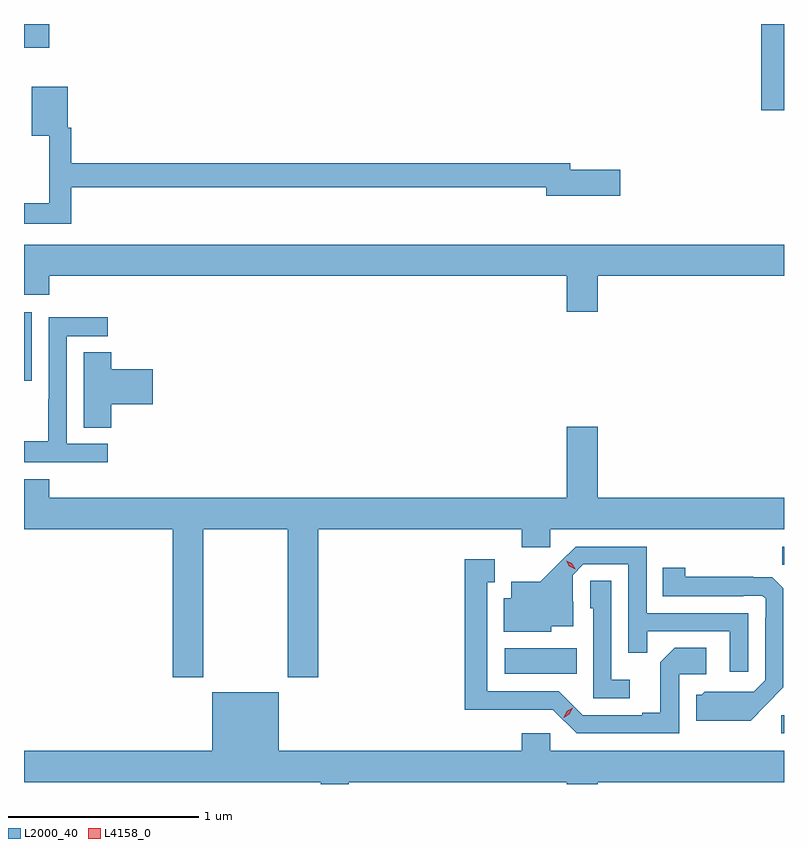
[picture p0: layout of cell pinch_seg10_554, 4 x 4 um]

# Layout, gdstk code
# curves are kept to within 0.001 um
import gdstk
lib = gdstk.Library(unit=1e-6, precision=1e-09)
def R(c, l, rs):  # rectangles x0, y0, x1, y1
    for r in rs: c.add(gdstk.rectangle(r[:2], r[2:], *l))
def P(c, l, *ps):  # polygons
    for p in ps: c.add(gdstk.Polygon(p, *l))
L2000_40 = (2000, 40)
L4158_0 = (4158, 0)

pinch_seg10_554 = lib.new_cell('pinch_seg10_554')
R(pinch_seg10_554, L2000_40, [(381.921,1267.272,381.936,1267.368), (380.466,1267.586,380.846,1267.72), (381.928,1268.161,381.936,1268.256), (377.936,1269.129,377.977,1269.49), (381.815,1270.551,381.936,1271.006), (377.936,1270.881,378.068,1271.006)])
P(pinch_seg10_554, L2000_40, [(378.185,1270.146),(380.684,1270.146),(380.684,1270.103),(381.073,1270.103),(381.073,1270.238),(380.812,1270.238),(380.812,1270.274),(378.185,1270.274),(378.185,1270.461),(378.166,1270.461),(378.166,1270.675),(377.978,1270.675),(377.978,1270.418),(378.068,1270.418),(378.068,1270.063),(377.936,1270.063),(377.936,1269.954),(378.185,1269.954)],
  [(380.956,1269.68),(381.936,1269.68),(381.936,1269.844),(377.936,1269.844),(377.936,1269.581),(378.068,1269.581),(378.068,1269.68),(380.792,1269.68),(380.792,1269.492),(380.956,1269.492)],
  [(378.376,1268.796),(378.162,1268.796),(378.162,1269.363),(378.376,1269.363),(378.376,1269.462),(378.066,1269.462),(378.066,1269.032),(378.064,1269.032),(378.064,1268.809),(377.936,1268.809),(377.936,1268.7),(378.376,1268.7)],
  [(378.395,1269.005),(378.613,1269.005),(378.613,1269.188),(378.395,1269.188),(378.395,1269.278),(378.251,1269.278),(378.251,1268.881),(378.395,1268.881)],
  [(378.879,1268.348),(379.324,1268.348),(379.324,1267.569),(379.484,1267.569),(379.484,1268.348),(380.555,1268.348),(380.555,1268.253),(380.706,1268.253),(380.706,1268.348),(381.936,1268.348),(381.936,1268.512),(380.956,1268.512),(380.956,1268.887),(380.792,1268.887),(380.792,1268.512),(378.068,1268.512),(378.068,1268.611),(377.936,1268.611),(377.936,1268.348),(378.719,1268.348),(378.719,1267.569),(378.879,1267.569)],
  [(381.747,1267.905),(381.213,1267.905),(381.213,1268.256),(380.84,1268.256),(380.653,1268.071),(380.501,1268.071),(380.501,1267.984),(380.462,1267.984),(380.462,1267.808),(380.712,1267.808),(380.712,1267.835),(380.827,1267.835),(380.827,1267.964),(380.823,1267.964),(380.823,1268.106),(380.88,1268.163),(381.117,1268.163),(381.117,1267.696),(381.215,1267.696),(381.215,1267.809),(381.651,1267.809),(381.651,1267.596),(381.747,1267.596)],
  [(381.384,1267.584),(381.526,1267.584),(381.526,1267.724),(381.361,1267.724),(381.285,1267.648),(381.285,1267.381),(381.191,1267.381),(381.191,1267.368),(380.877,1267.368),(380.751,1267.494),(380.374,1267.494),(380.374,1268.067),(380.413,1268.067),(380.413,1268.188),(380.256,1268.188),(380.256,1267.397),(380.718,1267.398),(380.844,1267.272),(381.384,1267.272)],
  [(381.841,1267.421),(381.933,1267.514),(381.933,1268.036),(381.874,1268.095),(381.417,1268.096),(381.417,1268.143),(381.298,1268.143),(381.298,1267.995),(381.722,1267.995),(381.722,1267.998),(381.822,1267.998),(381.84,1267.98),(381.84,1267.88),(381.837,1267.88),(381.837,1267.551),(381.777,1267.491),(381.52,1267.492),(381.504,1267.476),(381.473,1267.476),(381.473,1267.34),(381.761,1267.34)],
  [(381.124,1267.555),(381.027,1267.555),(381.027,1268.075),(380.916,1268.075),(380.916,1267.932),(380.931,1267.932),(380.931,1267.458),(381.124,1267.458)],
  [(379.645,1267.016),(380.792,1267.016),(380.792,1267.006),(380.956,1267.006),(380.956,1267.016),(381.936,1267.016),(381.936,1267.18),(380.706,1267.18),(380.706,1267.273),(380.555,1267.273),(380.555,1267.18),(379.276,1267.18),(379.276,1267.489),(378.926,1267.489),(378.926,1267.18),(377.936,1267.18),(377.936,1267.016),(379.498,1267.016),(379.498,1267.006),(379.645,1267.006)])
P(pinch_seg10_554, L4158_0, [(380.838,1268.137),(380.807,1268.152),(380.789,1268.181),(380.789,1268.182),(380.79,1268.182),(380.82,1268.167),(380.838,1268.138),(380.838,1268.137)],
  [(380.776,1267.355),(380.776,1267.355),(380.793,1267.388),(380.824,1267.408),(380.824,1267.408),(380.824,1267.407),(380.807,1267.374),(380.776,1267.355)])

lib.write_gds('pinch_seg10_554.gds')
